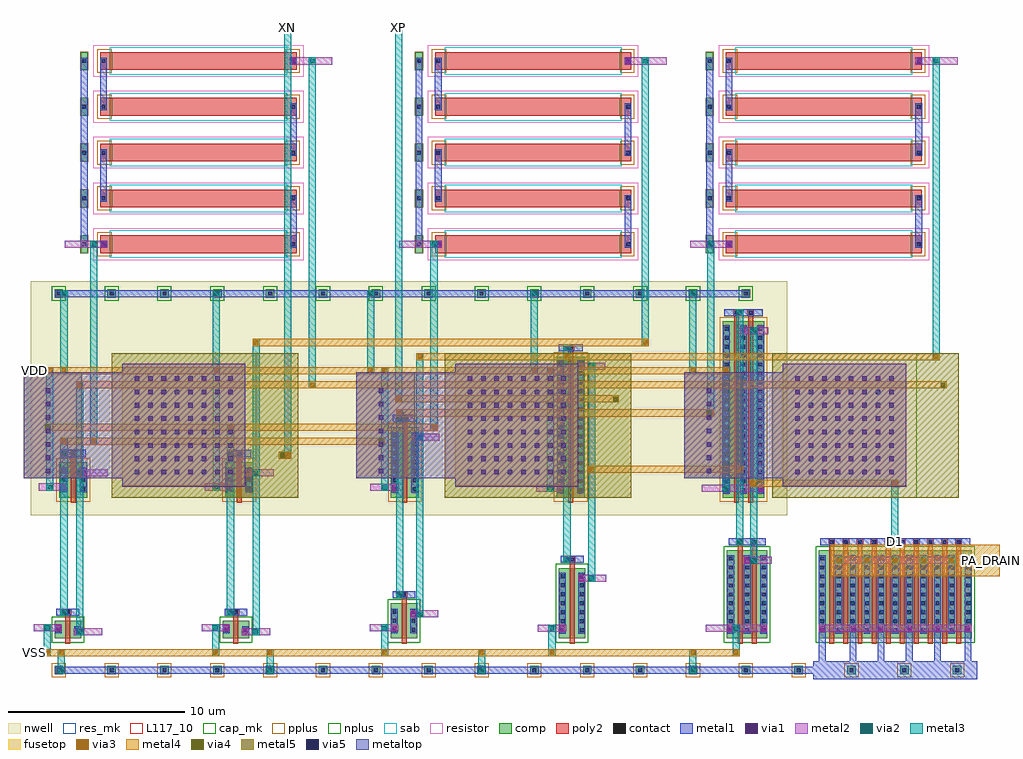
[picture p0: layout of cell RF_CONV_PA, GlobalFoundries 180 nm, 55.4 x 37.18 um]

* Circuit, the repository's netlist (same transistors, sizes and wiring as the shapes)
.subckt RF_CONV_PA XP XN VDD VSS PA_DRAIN D1
XXI0N_0 N0 G0 VSS VSS nfet_03v3 w=1u l=0.28u
XXIDN_0 ND GD VSS VSS nfet_03v3 w=1u l=0.28u
XXI1N_0 N1 G1 VSS VSS nfet_03v3 w=2u l=0.28u
XXID0N_0 D0 N1 VSS VSS nfet_03v3 w=4u l=0.28u
XXID1N_0 D1 D0 VSS VSS nfet_03v3 w=5u l=0.28u
XXID1N_1 D1 D0 VSS VSS nfet_03v3 w=5u l=0.28u
XXI0P_0 N0 G0 VDD VDD pfet_03v3 w=2u l=0.28u
XXIDP_0 ND GD VDD VDD pfet_03v3 w=2u l=0.28u
XXI1P_0 N1 G1 VDD VDD pfet_03v3 w=4u l=0.28u
XXID0P_0 D0 N1 VDD VDD pfet_03v3 w=8u l=0.28u
XXID1P_0 D1 D0 VDD VDD pfet_03v3 w=10u l=0.28u
XXID1P_1 D1 D0 VDD VDD pfet_03v3 w=10u l=0.28u
XXMPA_0 PA_DRAIN D1 VSS VSS nfet_03v3 w=5u l=0.28u
XXMPA_1 PA_DRAIN D1 VSS VSS nfet_03v3 w=5u l=0.28u
XXMPA_2 PA_DRAIN D1 VSS VSS nfet_03v3 w=5u l=0.28u
XXMPA_3 PA_DRAIN D1 VSS VSS nfet_03v3 w=5u l=0.28u
XXMPA_4 PA_DRAIN D1 VSS VSS nfet_03v3 w=5u l=0.28u
XXMPA_5 PA_DRAIN D1 VSS VSS nfet_03v3 w=5u l=0.28u
XXMPA_6 PA_DRAIN D1 VSS VSS nfet_03v3 w=5u l=0.28u
XXMPA_7 PA_DRAIN D1 VSS VSS nfet_03v3 w=5u l=0.28u
XXMPA_8 PA_DRAIN D1 VSS VSS nfet_03v3 w=5u l=0.28u
XXMPA_9 PA_DRAIN D1 VSS VSS nfet_03v3 w=5u l=0.28u
XXRF0_0 G0 XRF0_n1 VSS ppolyf_u_1k r_width=1u r_length=9.86u
XXRF0_1 XRF0_n1 XRF0_n2 VSS ppolyf_u_1k r_width=1u r_length=9.86u
XXRF0_2 XRF0_n2 XRF0_n3 VSS ppolyf_u_1k r_width=1u r_length=9.86u
XXRF0_3 XRF0_n3 XRF0_n4 VSS ppolyf_u_1k r_width=1u r_length=9.86u
XXRF0_4 XRF0_n4 N0 VSS ppolyf_u_1k r_width=1u r_length=9.86u
XXRFD_0 GD XRFD_n1 VSS ppolyf_u_1k r_width=1u r_length=9.86u
XXRFD_1 XRFD_n1 XRFD_n2 VSS ppolyf_u_1k r_width=1u r_length=9.86u
XXRFD_2 XRFD_n2 XRFD_n3 VSS ppolyf_u_1k r_width=1u r_length=9.86u
XXRFD_3 XRFD_n3 XRFD_n4 VSS ppolyf_u_1k r_width=1u r_length=9.86u
XXRFD_4 XRFD_n4 ND VSS ppolyf_u_1k r_width=1u r_length=9.86u
XXRF1_0 G1 XRF1_n1 VSS ppolyf_u_1k r_width=1u r_length=9.86u
XXRF1_1 XRF1_n1 XRF1_n2 VSS ppolyf_u_1k r_width=1u r_length=9.86u
XXRF1_2 XRF1_n2 XRF1_n3 VSS ppolyf_u_1k r_width=1u r_length=9.86u
XXRF1_3 XRF1_n3 XRF1_n4 VSS ppolyf_u_1k r_width=1u r_length=9.86u
XXRF1_4 XRF1_n4 N1 VSS ppolyf_u_1k r_width=1u r_length=9.86u
XCCX G0 XP cap_mim_2f0_m5m6_noshield c_width=7u c_length=7u
XCCD GD XN cap_mim_2f0_m5m6_noshield c_width=7u c_length=7u
XCC1 G1 N0 cap_mim_2f0_m5m6_noshield c_width=7u c_length=7u
.ends RF_CONV_PA

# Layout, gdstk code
import gdstk
lib = gdstk.Library(unit=1e-6, precision=1e-09)
def R(c, l, rs):  # rectangles x0, y0, x1, y1
    for r in rs: c.add(gdstk.rectangle(r[:2], r[2:], *l))
def A(c, l, x, y, w, h, nx, ny, dx, dy):  # array of equal rectangles
    R(c, l, [(x+i*dx, y+j*dy, x+i*dx+w, y+j*dy+h) for i in range(nx) for j in range(ny)])
def P(c, l, *ps):  # polygons
    for p in ps: c.add(gdstk.Polygon(p, *l))
nwell = (21, 0)
comp = (22, 0)
poly2 = (30, 0)
pplus = (31, 0)
nplus = (32, 0)
contact = (33, 0)
metal1 = (34, 0)
via1 = (35, 0)
metal2 = (36, 0)
via2 = (38, 0)
via3 = (40, 0)
via4 = (41, 0)
metal3 = (42, 0)
metal4 = (46, 0)
sab = (49, 0)
metaltop = (53, 0)
resistor = (62, 0)
fusetop = (75, 0)
metal5 = (81, 0)
via5 = (82, 0)
res_mk = (110, 5)
cap_mk = (117, 5)
L117_10 = (117, 10)

nfet_w5_l0p28_nf10_top = lib.new_cell('NFET_W5_L0p28_NF10_top')
R(nfet_w5_l0p28_nf10_top, comp, [(-0.42,0,8.28,5)])
P(nfet_w5_l0p28_nf10_top, poly2, [(0.19,-0.3),(0.19,5.3),(0.15,5.3),(0.15,5.66),(0.51,5.66),(0.51,5.3),(0.47,5.3),(0.47,-0.3)],
  [(0.99,-0.3),(0.99,5.3),(0.95,5.3),(0.95,5.66),(1.31,5.66),(1.31,5.3),(1.27,5.3),(1.27,-0.3)],
  [(1.79,-0.3),(1.79,5.3),(1.75,5.3),(1.75,5.66),(2.11,5.66),(2.11,5.3),(2.07,5.3),(2.07,-0.3)],
  [(2.59,-0.3),(2.59,5.3),(2.55,5.3),(2.55,5.66),(2.91,5.66),(2.91,5.3),(2.87,5.3),(2.87,-0.3)],
  [(3.39,-0.3),(3.39,5.3),(3.35,5.3),(3.35,5.66),(3.71,5.66),(3.71,5.3),(3.67,5.3),(3.67,-0.3)],
  [(4.19,-0.3),(4.19,5.3),(4.15,5.3),(4.15,5.66),(4.51,5.66),(4.51,5.3),(4.47,5.3),(4.47,-0.3)],
  [(4.99,-0.3),(4.99,5.3),(4.95,5.3),(4.95,5.66),(5.31,5.66),(5.31,5.3),(5.27,5.3),(5.27,-0.3)],
  [(5.79,-0.3),(5.79,5.3),(5.75,5.3),(5.75,5.66),(6.11,5.66),(6.11,5.3),(6.07,5.3),(6.07,-0.3)],
  [(6.59,-0.3),(6.59,5.3),(6.55,5.3),(6.55,5.66),(6.91,5.66),(6.91,5.3),(6.87,5.3),(6.87,-0.3)],
  [(7.39,-0.3),(7.39,5.3),(7.35,5.3),(7.35,5.66),(7.71,5.66),(7.71,5.3),(7.67,5.3),(7.67,-0.3)])
R(nfet_w5_l0p28_nf10_top, nplus, [(-0.59,-0.24,8.45,5.24)])
A(nfet_w5_l0p28_nf10_top, contact, -0.32, 0.35, 0.22, 0.22, 1, 9, 0, 0.51)
A(nfet_w5_l0p28_nf10_top, contact, 0.62, 0.35, 0.22, 0.22, 9, 9, 0.8, 0.51)
A(nfet_w5_l0p28_nf10_top, contact, 7.96, 0.35, 0.22, 0.22, 1, 9, 0, 0.51)
A(nfet_w5_l0p28_nf10_top, contact, 0.22, 5.37, 0.22, 0.22, 10, 1, 0.8, 0)
A(nfet_w5_l0p28_nf10_top, metal1, 0.54, 0.27, 0.38, 4.46, 9, 1, 0.8, 0)
A(nfet_w5_l0p28_nf10_top, metal1, 0.14, 5.29, 0.38, 0.38, 10, 1, 0.8, 0)
R(nfet_w5_l0p28_nf10_top, metal1, [(-0.4,0.27,-0.02,4.73), (7.88,0.27,8.26,4.73)])

nfet_w1_l0p28_nf1_top = lib.new_cell('NFET_W1_L0p28_NF1_top')
R(nfet_w1_l0p28_nf1_top, comp, [(-0.42,0,1.08,1)])
P(nfet_w1_l0p28_nf1_top, poly2, [(0.19,-0.3),(0.19,1.3),(0.15,1.3),(0.15,1.66),(0.51,1.66),(0.51,1.3),(0.47,1.3),(0.47,-0.3)])
R(nfet_w1_l0p28_nf1_top, nplus, [(-0.59,-0.24,1.25,1.24)])
R(nfet_w1_l0p28_nf1_top, contact, [(-0.32,0.39,-0.1,0.61), (0.76,0.39,0.98,0.61), (0.22,1.37,0.44,1.59)])
R(nfet_w1_l0p28_nf1_top, metal1, [(-0.4,0.31,-0.02,0.69), (0.68,0.31,1.06,0.69), (0.14,1.29,0.52,1.67)])

nfet_w2_l0p28_nf1_top = lib.new_cell('NFET_W2_L0p28_NF1_top')
R(nfet_w2_l0p28_nf1_top, comp, [(-0.42,0,1.08,2)])
P(nfet_w2_l0p28_nf1_top, poly2, [(0.19,-0.3),(0.19,2.3),(0.15,2.3),(0.15,2.66),(0.51,2.66),(0.51,2.3),(0.47,2.3),(0.47,-0.3)])
R(nfet_w2_l0p28_nf1_top, nplus, [(-0.59,-0.24,1.25,2.24)])
A(nfet_w2_l0p28_nf1_top, contact, -0.32, 0.38, 0.22, 0.22, 1, 3, 0, 0.51)
A(nfet_w2_l0p28_nf1_top, contact, 0.76, 0.38, 0.22, 0.22, 1, 3, 0, 0.51)
R(nfet_w2_l0p28_nf1_top, contact, [(0.22,2.37,0.44,2.59)])
R(nfet_w2_l0p28_nf1_top, metal1, [(-0.4,0.3,-0.02,1.7), (0.68,0.3,1.06,1.7), (0.14,2.29,0.52,2.67)])

nfet_w4_l0p28_nf1_top = lib.new_cell('NFET_W4_L0p28_NF1_top')
R(nfet_w4_l0p28_nf1_top, comp, [(-0.42,0,1.08,4)])
P(nfet_w4_l0p28_nf1_top, poly2, [(0.19,-0.3),(0.19,4.3),(0.15,4.3),(0.15,4.66),(0.51,4.66),(0.51,4.3),(0.47,4.3),(0.47,-0.3)])
R(nfet_w4_l0p28_nf1_top, nplus, [(-0.59,-0.24,1.25,4.24)])
A(nfet_w4_l0p28_nf1_top, contact, -0.32, 0.36, 0.22, 0.22, 1, 7, 0, 0.51)
A(nfet_w4_l0p28_nf1_top, contact, 0.76, 0.36, 0.22, 0.22, 1, 7, 0, 0.51)
R(nfet_w4_l0p28_nf1_top, contact, [(0.22,4.37,0.44,4.59)])
R(nfet_w4_l0p28_nf1_top, metal1, [(-0.4,0.28,-0.02,3.72), (0.68,0.28,1.06,3.72), (0.14,4.29,0.52,4.67)])

nfet_w5_l0p28_nf2_top = lib.new_cell('NFET_W5_L0p28_NF2_top')
R(nfet_w5_l0p28_nf2_top, comp, [(-0.42,0,1.88,5)])
P(nfet_w5_l0p28_nf2_top, poly2, [(0.19,-0.3),(0.19,5.3),(0.15,5.3),(0.15,5.66),(0.51,5.66),(0.51,5.3),(0.47,5.3),(0.47,-0.3)],
  [(0.99,-0.3),(0.99,5.3),(0.95,5.3),(0.95,5.66),(1.31,5.66),(1.31,5.3),(1.27,5.3),(1.27,-0.3)])
R(nfet_w5_l0p28_nf2_top, nplus, [(-0.59,-0.24,2.05,5.24)])
A(nfet_w5_l0p28_nf2_top, contact, -0.32, 0.35, 0.22, 0.22, 3, 9, 0.94, 0.51)
R(nfet_w5_l0p28_nf2_top, contact, [(0.22,5.37,0.44,5.59), (1.02,5.37,1.24,5.59)])
A(nfet_w5_l0p28_nf2_top, metal1, -0.4, 0.27, 0.38, 4.46, 3, 1, 0.94, 0)
R(nfet_w5_l0p28_nf2_top, metal1, [(0.14,5.29,0.52,5.67), (0.94,5.29,1.32,5.67)])

pfet_w2_l0p28_nf1_top = lib.new_cell('PFET_W2_L0p28_NF1_top')
R(pfet_w2_l0p28_nf1_top, nwell, [(-0.9,-0.44,1.56,2.44)])
R(pfet_w2_l0p28_nf1_top, comp, [(-0.46,0,1.12,2)])
P(pfet_w2_l0p28_nf1_top, poly2, [(0.19,-0.3),(0.19,2.3),(0.14,2.3),(0.14,2.68),(0.52,2.68),(0.52,2.3),(0.47,2.3),(0.47,-0.3)])
R(pfet_w2_l0p28_nf1_top, pplus, [(-0.63,-0.24,1.29,2.24)])
A(pfet_w2_l0p28_nf1_top, contact, -0.34, 0.38, 0.22, 0.22, 1, 3, 0, 0.51)
A(pfet_w2_l0p28_nf1_top, contact, 0.78, 0.38, 0.22, 0.22, 1, 3, 0, 0.51)
R(pfet_w2_l0p28_nf1_top, contact, [(0.22,2.38,0.44,2.6)])
R(pfet_w2_l0p28_nf1_top, metal1, [(-0.42,0.3,-0.04,1.7), (0.7,0.3,1.08,1.7), (0.14,2.3,0.52,2.68)])

pfet_w4_l0p28_nf1_top = lib.new_cell('PFET_W4_L0p28_NF1_top')
R(pfet_w4_l0p28_nf1_top, nwell, [(-0.9,-0.44,1.56,4.44)])
R(pfet_w4_l0p28_nf1_top, comp, [(-0.46,0,1.12,4)])
P(pfet_w4_l0p28_nf1_top, poly2, [(0.19,-0.3),(0.19,4.3),(0.14,4.3),(0.14,4.68),(0.52,4.68),(0.52,4.3),(0.47,4.3),(0.47,-0.3)])
R(pfet_w4_l0p28_nf1_top, pplus, [(-0.63,-0.24,1.29,4.24)])
A(pfet_w4_l0p28_nf1_top, contact, -0.34, 0.36, 0.22, 0.22, 1, 7, 0, 0.51)
A(pfet_w4_l0p28_nf1_top, contact, 0.78, 0.36, 0.22, 0.22, 1, 7, 0, 0.51)
R(pfet_w4_l0p28_nf1_top, contact, [(0.22,4.38,0.44,4.6)])
R(pfet_w4_l0p28_nf1_top, metal1, [(-0.42,0.28,-0.04,3.72), (0.7,0.28,1.08,3.72), (0.14,4.3,0.52,4.68)])

pfet_w8_l0p28_nf1_top = lib.new_cell('PFET_W8_L0p28_NF1_top')
R(pfet_w8_l0p28_nf1_top, nwell, [(-0.9,-0.44,1.56,8.44)])
R(pfet_w8_l0p28_nf1_top, comp, [(-0.46,0,1.12,8)])
P(pfet_w8_l0p28_nf1_top, poly2, [(0.19,-0.3),(0.19,8.3),(0.14,8.3),(0.14,8.68),(0.52,8.68),(0.52,8.3),(0.47,8.3),(0.47,-0.3)])
R(pfet_w8_l0p28_nf1_top, pplus, [(-0.63,-0.24,1.29,8.24)])
A(pfet_w8_l0p28_nf1_top, contact, -0.34, 0.32, 0.22, 0.22, 1, 15, 0, 0.51)
A(pfet_w8_l0p28_nf1_top, contact, 0.78, 0.32, 0.22, 0.22, 1, 15, 0, 0.51)
R(pfet_w8_l0p28_nf1_top, contact, [(0.22,8.38,0.44,8.6)])
R(pfet_w8_l0p28_nf1_top, metal1, [(-0.42,0.24,-0.04,7.76), (0.7,0.24,1.08,7.76), (0.14,8.3,0.52,8.68)])

pfet_w10_l0p28_nf2_top = lib.new_cell('PFET_W10_L0p28_NF2_top')
R(pfet_w10_l0p28_nf2_top, nwell, [(-0.9,-0.44,2.36,10.44)])
R(pfet_w10_l0p28_nf2_top, comp, [(-0.46,0,1.92,10)])
P(pfet_w10_l0p28_nf2_top, poly2, [(0.19,-0.3),(0.19,10.3),(0.14,10.3),(0.14,10.68),(0.52,10.68),(0.52,10.3),(0.47,10.3),(0.47,-0.3)],
  [(0.99,-0.3),(0.99,10.3),(0.94,10.3),(0.94,10.68),(1.32,10.68),(1.32,10.3),(1.27,10.3),(1.27,-0.3)])
R(pfet_w10_l0p28_nf2_top, pplus, [(-0.63,-0.24,2.09,10.24)])
A(pfet_w10_l0p28_nf2_top, contact, -0.34, 0.3, 0.22, 0.22, 3, 19, 0.96, 0.51)
R(pfet_w10_l0p28_nf2_top, contact, [(0.22,10.38,0.44,10.6), (1.02,10.38,1.24,10.6)])
A(pfet_w10_l0p28_nf2_top, metal1, -0.42, 0.22, 0.38, 9.56, 3, 1, 0.96, 0)
R(pfet_w10_l0p28_nf2_top, metal1, [(0.14,10.3,0.52,10.68), (0.94,10.3,1.32,10.68)])

tap_nw = lib.new_cell('TAP_NW')
R(tap_nw, nwell, [(-0.5,-0.5,0.5,0.5)])
R(tap_nw, comp, [(-0.24,-0.24,0.24,0.24)])
R(tap_nw, nplus, [(-0.4,-0.4,0.4,0.4)])
R(tap_nw, contact, [(-0.11,-0.11,0.11,0.11)])
R(tap_nw, metal1, [(-0.2,-0.2,0.2,0.2)])

tap_sub = lib.new_cell('TAP_SUB')
R(tap_sub, comp, [(-0.24,-0.24,0.24,0.24)])
R(tap_sub, pplus, [(-0.4,-0.4,0.4,0.4)])
R(tap_sub, contact, [(-0.11,-0.11,0.11,0.11)])
R(tap_sub, metal1, [(-0.2,-0.2,0.2,0.2)])

rhr_w1_l9p86 = lib.new_cell('RHR_W1_L9p86')
R(rhr_w1_l9p86, comp, [(-1.76,0,-1.34,1)])
R(rhr_w1_l9p86, poly2, [(-0.64,0,10.5,1)])
R(rhr_w1_l9p86, pplus, [(-0.82,-0.18,0,1.18), (9.86,-0.18,10.68,1.18), (-1.78,-0.02,-1.32,1.02)])
R(rhr_w1_l9p86, contact, [(-1.66,0.39,-1.44,0.61), (-0.57,0.39,-0.35,0.61), (10.21,0.39,10.43,0.61)])
R(rhr_w1_l9p86, metal1, [(-1.74,0.31,-1.36,0.69), (-0.65,0.31,-0.27,0.69), (10.13,0.31,10.51,0.69)])
R(rhr_w1_l9p86, sab, [(-0.1,-0.28,9.96,1.28)])
R(rhr_w1_l9p86, resistor, [(-1.04,-0.4,10.9,1.4)])
R(rhr_w1_l9p86, res_mk, [(0,0,9.86,1)])

mim_7x7 = lib.new_cell('MIM_7x7')
R(mim_7x7, metaltop, [(0,0,7,7)])
R(mim_7x7, fusetop, [(0,0,7,7)])
R(mim_7x7, metal5, [(-0.6,-0.6,7.6,7.6)])
A(mim_7x7, via5, 0.71, 0.71, 0.26, 0.26, 8, 8, 0.76, 0.76)
R(mim_7x7, cap_mk, [(-0.6,-0.6,7.6,7.6)])
R(mim_7x7, L117_10, [(0,0,7,0.1)])

rf_conv_pa = lib.new_cell('RF_CONV_PA')
R(rf_conv_pa, nwell, [(-0.6,10,42.36,23.28)])
A(rf_conv_pa, metal1, 12.8, 1, 0.4, 0.4, 3, 1, 12, 0)
A(rf_conv_pa, metal1, 45.89, 1.2, 0.38, 2.17, 4, 1, 1.6, 0)
A(rf_conv_pa, metal1, 45.88, 3.37, 0.4, 0.4, 4, 1, 1.6, 0)
A(rf_conv_pa, metal1, 45.08, 7.23, 0.4, 0.4, 5, 1, 1.6, 0)
R(rf_conv_pa, metal1, [(43.83,0.7,53.13,1.7), (0.8,1,52.2,1.4), (0.95,1,1.35,1.4), (44.15,1.2,44.53,3.37), (52.43,1.2,52.81,3.37), (1.86,3.19,2.26,3.59), (11.4,3.19,11.8,3.59), (38.94,3.37,39.34,3.77), (40.82,3.37,41.22,3.77), (44.14,3.37,44.54,3.77), (52.42,3.37,52.82,3.77), (29.4,3.38,29.8,3.78), (19.86,3.4,20.26,3.8), (0.78,3.41,1.18,3.81), (10.32,3.41,10.72,3.81), (20.94,4.2,21.34,4.6), (0.87,4.29,2.17,4.69), (1.1,4.29,1.5,4.69), (10.41,4.29,11.71,4.69), (10.55,4.29,10.95,4.69), (19.95,5.29,21.25,5.69), (20.15,5.29,20.55,5.69), (30.48,6.22,30.88,6.62), (39.88,7.23,40.28,7.63), (29.49,7.29,30.79,7.69), (29.65,7.29,30.05,7.69), (39.03,8.29,41.13,8.69), (39.45,8.29,39.85,8.69), (44.23,8.29,52.73,8.69), (48.25,8.29,48.65,8.69), (38.71,11.32,39.11,11.72), (40.63,11.32,41.03,11.72), (29.3,11.34,29.7,11.74), (19.89,11.38,20.29,11.78), (1.07,11.4,1.47,11.8), (10.48,11.4,10.88,11.8), (2.19,12.2,2.59,12.6), (11.6,12.2,12,12.6), (1.1,13.3,1.5,13.7), (1.14,13.3,2.52,13.7), (10.55,13.3,10.95,13.7), (10.55,13.3,11.93,13.7), (21.01,14.22,21.41,14.62), (19.96,15.3,21.34,15.7), (20.15,15.3,20.55,15.7), (30.42,18.26,30.82,18.66), (29.37,19.3,30.75,19.7), (29.65,19.3,30.05,19.7), (39.67,20.28,40.07,20.68), (38.78,21.3,40.96,21.7), (39.45,21.3,39.85,21.7), (0.8,22.38,40.2,22.78), (1.1,22.38,1.5,22.78), (9.75,22.38,10.15,22.78), (18.5,22.38,18.9,22.78), (27.8,22.38,28.2,22.78), (36.8,22.38,37.2,22.78), (2.26,25.19,2.64,35.97), (2.26,25.19,2.64,25.57), (14.13,25.19,14.51,28.17), (21.26,25.19,21.64,35.97), (21.26,25.19,21.64,25.57), (33.13,25.19,33.51,28.17), (37.76,25.19,38.14,35.97), (37.76,25.19,38.14,25.57), (49.63,25.19,50.01,28.17), (3.35,27.79,3.73,30.77), (22.35,27.79,22.73,30.77), (38.85,27.79,39.23,30.77), (14.13,30.39,14.51,33.37), (33.13,30.39,33.51,33.37), (49.63,30.39,50.01,33.37), (3.35,32.99,3.73,35.97), (22.35,32.99,22.73,35.97), (38.85,32.99,39.23,35.97)])
A(rf_conv_pa, via1, 12.87, 1.07, 0.26, 0.26, 3, 1, 12, 0)
A(rf_conv_pa, via1, 45.95, 3.44, 0.26, 0.26, 4, 1, 1.6, 0)
A(rf_conv_pa, via1, 45.15, 7.3, 0.26, 0.26, 5, 1, 1.6, 0)
R(rf_conv_pa, via1, [(1.02,1.07,1.28,1.33), (1.93,3.26,2.19,3.52), (11.47,3.26,11.73,3.52), (39.01,3.44,39.27,3.7), (40.89,3.44,41.15,3.7), (44.21,3.44,44.47,3.7), (52.49,3.44,52.75,3.7), (29.47,3.45,29.73,3.71), (19.93,3.47,20.19,3.73), (0.85,3.48,1.11,3.74), (10.39,3.48,10.65,3.74), (21.01,4.27,21.27,4.53), (1.17,4.36,1.43,4.62), (10.62,4.36,10.88,4.62), (20.22,5.36,20.48,5.62), (30.55,6.29,30.81,6.55), (39.95,7.3,40.21,7.56), (29.72,7.36,29.98,7.62), (39.52,8.36,39.78,8.62), (48.32,8.36,48.58,8.62), (38.78,11.39,39.04,11.65), (40.7,11.39,40.96,11.65), (29.37,11.41,29.63,11.67), (19.96,11.45,20.22,11.71), (1.14,11.47,1.4,11.73), (10.55,11.47,10.81,11.73), (2.26,12.27,2.52,12.53), (11.67,12.27,11.93,12.53), (1.17,13.37,1.43,13.63), (10.62,13.37,10.88,13.63), (21.08,14.29,21.34,14.55), (20.22,15.37,20.48,15.63), (30.49,18.33,30.75,18.59), (29.72,19.37,29.98,19.63), (39.74,20.35,40,20.61), (39.52,21.37,39.78,21.63), (1.17,22.45,1.43,22.71), (9.82,22.45,10.08,22.71), (18.57,22.45,18.83,22.71), (27.87,22.45,28.13,22.71), (36.87,22.45,37.13,22.71), (3.41,25.25,3.67,25.51), (22.41,25.25,22.67,25.51), (38.91,25.25,39.17,25.51), (14.19,35.65,14.45,35.91), (33.19,35.65,33.45,35.91), (49.69,35.65,49.95,35.91)])
A(rf_conv_pa, metal2, 12.8, 1, 0.4, 0.4, 3, 1, 12, 0)
A(rf_conv_pa, metal2, 45.08, 7.23, 0.4, 0.4, 5, 1, 1.6, 0)
R(rf_conv_pa, metal2, [(0.95,1,1.35,1.4), (1.86,3.19,3.46,3.59), (2,3.19,2.4,3.59), (11.4,3.19,13,3.59), (12,3.19,12.4,3.59), (37.74,3.37,41.22,3.77), (39.25,3.37,39.65,3.77), (44.14,3.37,52.82,3.77), (28.2,3.38,29.8,3.78), (28.8,3.38,29.2,3.78), (18.66,3.4,20.26,3.8), (19.3,3.4,19.7,3.8), (-0.42,3.41,1.18,3.81), (0.15,3.41,0.55,3.81), (9.12,3.41,10.72,3.81), (9.7,3.41,10.1,3.81), (20.94,4.2,22.54,4.6), (21.3,4.2,21.7,4.6), (1.1,4.29,1.5,4.69), (10.55,4.29,10.95,4.69), (20.15,5.29,20.55,5.69), (30.48,6.22,32.08,6.62), (31.05,6.22,31.45,6.62), (39.88,7.23,41.48,7.63), (40.25,7.23,40.65,7.63), (45.08,7.23,51.88,7.63), (29.65,7.29,30.05,7.69), (39.45,8.29,39.85,8.69), (48.25,8.29,48.65,8.69), (37.51,11.32,41.03,11.72), (38.65,11.32,39.05,11.72), (28.1,11.34,29.7,11.74), (28.7,11.34,29.1,11.74), (18.69,11.38,20.29,11.78), (19.3,11.38,19.7,11.78), (-0.13,11.4,1.47,11.8), (0.3,11.4,0.7,11.8), (9.28,11.4,10.88,11.8), (9.75,11.4,10.15,11.8), (2,12.2,2.4,12.6), (2.19,12.2,3.79,12.6), (11.6,12.2,13.2,12.6), (12,12.2,12.4,12.6), (1.1,13.3,1.5,13.7), (10.55,13.3,10.95,13.7), (21.01,14.22,22.61,14.62), (21.3,14.22,21.7,14.62), (20.15,15.3,20.55,15.7), (30.42,18.26,32.02,18.66), (31.05,18.26,31.45,18.66), (29.65,19.3,30.05,19.7), (39.67,20.28,41.27,20.68), (40.25,20.28,40.65,20.68), (39.45,21.3,39.85,21.7), (1.1,22.38,1.5,22.78), (9.75,22.38,10.15,22.78), (18.5,22.38,18.9,22.78), (27.8,22.38,28.2,22.78), (36.8,22.38,37.2,22.78), (1.34,25.18,3.74,25.58), (2.8,25.18,3.2,25.58), (20.34,25.18,22.74,25.58), (22.1,25.18,22.5,25.58), (36.84,25.18,39.24,25.58), (37.8,25.18,38.2,25.58), (14.12,35.58,16.52,35.98), (15.2,35.58,15.6,35.98), (33.12,35.58,35.52,35.98), (34.1,35.58,34.5,35.98), (49.62,35.58,52.02,35.98), (50.6,35.58,51,35.98)])
A(rf_conv_pa, via2, 12.87, 1.07, 0.26, 0.26, 3, 1, 12, 0)
A(rf_conv_pa, via2, 45.15, 7.3, 0.26, 0.26, 5, 1, 1.6, 0)
R(rf_conv_pa, via2, [(1.02,1.07,1.28,1.33), (2.07,3.26,2.33,3.52), (12.07,3.26,12.33,3.52), (39.32,3.44,39.58,3.7), (28.87,3.45,29.13,3.71), (19.37,3.47,19.63,3.73), (0.22,3.48,0.48,3.74), (9.77,3.48,10.03,3.74), (21.37,4.27,21.63,4.53), (1.17,4.36,1.43,4.62), (10.62,4.36,10.88,4.62), (20.22,5.36,20.48,5.62), (31.12,6.29,31.38,6.55), (40.32,7.3,40.58,7.56), (29.72,7.36,29.98,7.62), (39.52,8.36,39.78,8.62), (48.32,8.36,48.58,8.62), (38.72,11.39,38.98,11.65), (28.77,11.41,29.03,11.67), (19.37,11.45,19.63,11.71), (0.37,11.47,0.63,11.73), (9.82,11.47,10.08,11.73), (2.07,12.27,2.33,12.53), (12.07,12.27,12.33,12.53), (1.17,13.37,1.43,13.63), (10.62,13.37,10.88,13.63), (21.37,14.29,21.63,14.55), (20.22,15.37,20.48,15.63), (31.12,18.33,31.38,18.59), (29.72,19.37,29.98,19.63), (40.32,20.35,40.58,20.61), (39.52,21.37,39.78,21.63), (1.17,22.45,1.43,22.71), (9.82,22.45,10.08,22.71), (18.57,22.45,18.83,22.71), (27.87,22.45,28.13,22.71), (36.87,22.45,37.13,22.71), (2.87,25.25,3.13,25.51), (22.17,25.25,22.43,25.51), (37.87,25.25,38.13,25.51), (15.27,35.65,15.53,35.91), (34.17,35.65,34.43,35.91), (50.67,35.65,50.93,35.91)])
A(rf_conv_pa, via3, 45.15, 7.3, 0.26, 0.26, 5, 1, 1.6, 0)
R(rf_conv_pa, via3, [(0.22,2.07,0.48,2.33), (1.02,2.07,1.28,2.33), (9.77,2.07,10.03,2.33), (12.87,2.07,13.13,2.33), (19.37,2.07,19.63,2.33), (24.87,2.07,25.13,2.33), (28.87,2.07,29.13,2.33), (36.87,2.07,37.13,2.33), (39.32,2.07,39.58,2.33), (40.32,11.67,40.58,11.93), (40.32,11.67,40.58,11.93), (48.32,11.67,48.58,11.93), (31.12,12.47,31.38,12.73), (31.12,12.47,31.38,12.73), (39.52,12.47,39.78,12.73), (39.52,12.47,39.78,12.73), (13.87,13.27,14.13,13.53), (1.17,14.07,1.43,14.33), (1.17,14.07,1.43,14.33), (2.87,14.07,3.13,14.33), (10.62,14.87,10.88,15.13), (10.62,14.87,10.88,15.13), (22.17,14.87,22.43,15.13), (20.22,15.67,20.48,15.93), (20.22,15.67,20.48,15.93), (37.87,15.67,38.13,15.93), (20.17,16.47,20.43,16.73), (2.07,17.27,2.33,17.53), (2.07,17.27,2.33,17.53), (15.27,17.27,15.53,17.53), (0.37,18.07,0.63,18.33), (1.17,18.07,1.43,18.33), (9.82,18.07,10.08,18.33), (9.82,18.07,10.08,18.33), (18.57,18.07,18.83,18.33), (19.37,18.07,19.63,18.33), (27.87,18.07,28.13,18.33), (28.77,18.07,29.03,18.33), (36.87,18.07,37.13,18.33), (38.72,18.07,38.98,18.33), (21.37,18.87,21.63,19.13), (21.37,18.87,21.63,19.13), (29.72,18.87,29.98,19.13), (29.72,18.87,29.98,19.13), (50.67,18.87,50.93,19.13), (12.07,19.67,12.33,19.93), (12.07,19.67,12.33,19.93), (34.17,19.67,34.43,19.93)])
R(rf_conv_pa, via4, [(13.57,13.27,13.83,13.53), (19.17,14.07,19.43,14.33), (0.27,14.87,0.53,15.13), (37.77,15.67,38.03,15.93), (32.47,16.47,32.73,16.73), (51.07,17.27,51.33,17.53)])
A(rf_conv_pa, metal3, 12.8, 1, 0.4, 0.4, 3, 1, 12, 0)
A(rf_conv_pa, metal3, 12.8, 1, 0.4, 1.4, 3, 1, 12, 0)
A(rf_conv_pa, metal3, 45.08, 7.23, 0.4, 0.4, 5, 1, 1.6, 0)
R(rf_conv_pa, metal3, [(0.95,1,1.35,1.4), (0.95,1,1.35,2.4), (0.15,2,0.55,2.4), (0.15,2,0.55,3.81), (0.95,2,1.35,2.4), (9.7,2,10.1,2.4), (9.7,2,10.1,3.81), (12.8,2,13.2,2.4), (19.3,2,19.7,2.4), (19.3,2,19.7,3.8), (24.8,2,25.2,2.4), (28.8,2,29.2,2.4), (28.8,2,29.2,3.78), (36.8,2,37.2,2.4), (39.25,2,39.65,2.4), (39.25,2,39.65,3.77), (2,3.19,2.4,3.59), (2,3.19,2.4,17.6), (12,3.19,12.4,20), (12,3.19,12.4,3.59), (39.25,3.37,39.65,3.77), (28.8,3.38,29.2,3.78), (19.3,3.4,19.7,3.8), (0.15,3.41,0.55,3.81), (9.7,3.41,10.1,3.81), (21.3,4.2,21.7,4.6), (21.3,4.2,21.7,19.2), (1.1,4.29,1.5,4.69), (1.1,4.29,1.5,14.4), (10.55,4.29,10.95,4.69), (10.55,4.29,10.95,15.2), (20.15,5.29,20.55,5.69), (20.15,5.29,20.55,16), (31.05,6.22,31.45,6.62), (31.05,6.22,31.45,12.8), (40.25,7.23,40.65,7.63), (40.25,7.23,40.65,12), (29.65,7.29,30.05,7.69), (29.65,7.29,30.05,19.2), (39.45,8.29,39.85,8.69), (39.45,8.29,39.85,12.8), (48.25,8.29,48.65,8.69), (48.25,8.29,48.65,12), (38.65,11.32,39.05,11.72), (38.65,11.32,39.05,18.4), (28.7,11.34,29.1,11.74), (28.7,11.34,29.1,18.4), (19.3,11.38,19.7,11.78), (19.3,11.38,19.7,18.4), (0.3,11.4,0.7,11.8), (0.3,11.4,0.7,18.4), (9.75,11.4,10.15,11.8), (9.75,11.4,10.15,18.4), (40.25,11.6,40.65,12), (40.25,11.6,40.65,12), (40.25,11.6,40.65,20.68), (48.25,11.6,48.65,12), (2,12.2,2.4,12.6), (2,12.2,2.4,17.6), (12,12.2,12.4,20), (12,12.2,12.4,12.6), (31.05,12.4,31.45,12.8), (31.05,12.4,31.45,12.8), (31.05,12.4,31.45,18.66), (39.45,12.4,39.85,12.8), (39.45,12.4,39.85,12.8), (39.45,12.4,39.85,21.7), (13.8,13.2,14.2,13.6), (13.8,13.2,14.2,37.88), (1.1,13.3,1.5,13.7), (1.1,13.3,1.5,14.4), (10.55,13.3,10.95,13.7), (10.55,13.3,10.95,15.2), (1.1,14,1.5,14.4), (1.1,14,1.5,14.4), (2.8,14,3.2,14.4), (2.8,14,3.2,25.58), (21.3,14.22,21.7,14.62), (21.3,14.22,21.7,19.2), (10.55,14.8,10.95,15.2), (10.55,14.8,10.95,15.2), (22.1,14.8,22.5,15.2), (22.1,14.8,22.5,25.58), (20.15,15.3,20.55,15.7), (20.15,15.3,20.55,16), (20.15,15.6,20.55,16), (20.15,15.6,20.55,16), (37.8,15.6,38.2,16), (37.8,15.6,38.2,25.58), (20.1,16.4,20.5,16.8), (20.1,16.4,20.5,37.88), (2,17.2,2.4,17.6), (2,17.2,2.4,17.6), (15.2,17.2,15.6,17.6), (15.2,17.2,15.6,35.98), (0.3,18,0.7,18.4), (1.1,18,1.5,18.4), (1.1,18,1.5,22.78), (9.75,18,10.15,18.4), (9.75,18,10.15,18.4), (9.75,18,10.15,22.78), (18.5,18,18.9,18.4), (18.5,18,18.9,22.78), (19.3,18,19.7,18.4), (27.8,18,28.2,18.4), (27.8,18,28.2,22.78), (28.7,18,29.1,18.4), (36.8,18,37.2,18.4), (36.8,18,37.2,22.78), (38.65,18,39.05,18.4), (31.05,18.26,31.45,18.66), (21.3,18.8,21.7,19.2), (21.3,18.8,21.7,19.2), (29.65,18.8,30.05,19.2), (29.65,18.8,30.05,19.2), (29.65,18.8,30.05,19.7), (50.6,18.8,51,19.2), (50.6,18.8,51,35.98), (29.65,19.3,30.05,19.7), (12,19.6,12.4,20), (12,19.6,12.4,20), (34.1,19.6,34.5,20), (34.1,19.6,34.5,35.98), (40.25,20.28,40.65,20.68), (39.45,21.3,39.85,21.7), (1.1,22.38,1.5,22.78), (9.75,22.38,10.15,22.78), (18.5,22.38,18.9,22.78), (27.8,22.38,28.2,22.78), (36.8,22.38,37.2,22.78), (2.8,25.18,3.2,25.58), (22.1,25.18,22.5,25.58), (37.8,25.18,38.2,25.58), (15.2,35.58,15.6,35.98), (34.1,35.58,34.5,35.98), (50.6,35.58,51,35.98), (13.8,37.48,14.2,37.88), (20.1,37.48,20.5,37.88)])
A(rf_conv_pa, metal4, 45.08, 7.23, 0.4, 0.4, 5, 1, 1.6, 0)
R(rf_conv_pa, metal4, [(-0.8,2,39.65,2.4), (0.15,2,0.55,2.4), (0.95,2,1.35,2.4), (9.7,2,10.1,2.4), (12.8,2,13.2,2.4), (19.3,2,19.7,2.4), (24.8,2,25.2,2.4), (28.8,2,29.2,2.4), (36.8,2,37.2,2.4), (39.25,2,39.65,2.4), (44.79,6.53,54.4,8.33), (40.25,11.6,40.65,12), (40.25,11.6,40.65,12), (40.25,11.6,48.65,12), (48.25,11.6,48.65,12), (31.05,12.4,31.45,12.8), (31.05,12.4,31.45,12.8), (31.05,12.4,39.85,12.8), (39.45,12.4,39.85,12.8), (39.45,12.4,39.85,12.8), (13.5,13.2,13.9,13.6), (13.5,13.2,14.2,13.6), (13.8,13.2,14.2,13.6), (1.1,14,1.5,14.4), (1.1,14,1.5,14.4), (1.1,14,19.5,14.4), (2.8,14,3.2,14.4), (19.1,14,19.5,14.4), (0.2,14.8,0.6,15.2), (0.2,14.8,22.5,15.2), (10.55,14.8,10.95,15.2), (10.55,14.8,10.95,15.2), (22.1,14.8,22.5,15.2), (20.15,15.6,20.55,16), (20.15,15.6,20.55,16), (20.15,15.6,38.2,16), (37.7,15.6,38.1,16), (37.8,15.6,38.2,16), (20.1,16.4,20.5,16.8), (20.1,16.4,32.8,16.8), (32.4,16.4,32.8,16.8), (2,17.2,2.4,17.6), (2,17.2,2.4,17.6), (2,17.2,51.4,17.6), (15.2,17.2,15.6,17.6), (51,17.2,51.4,17.6), (-0.8,18,39.05,18.4), (0.3,18,0.7,18.4), (1.1,18,1.5,18.4), (9.75,18,10.15,18.4), (9.75,18,10.15,18.4), (18.5,18,18.9,18.4), (19.3,18,19.7,18.4), (27.8,18,28.2,18.4), (28.7,18,29.1,18.4), (36.8,18,37.2,18.4), (38.65,18,39.05,18.4), (21.3,18.8,21.7,19.2), (21.3,18.8,21.7,19.2), (21.3,18.8,51,19.2), (29.65,18.8,30.05,19.2), (29.65,18.8,30.05,19.2), (50.6,18.8,51,19.2), (12,19.6,12.4,20), (12,19.6,12.4,20), (12,19.6,34.5,20), (34.1,19.6,34.5,20)])
R(rf_conv_pa, metaltop, [(-1,12.1,5.1,18.1), (17.9,12.1,24,18.1), (36.5,12.1,42.6,18.1)])
R(rf_conv_pa, metal5, [(12.2,11,14.6,19.2), (31.1,11,33.5,19.2), (49.7,11,52.1,19.2), (-1,12.1,2.3,18.1), (17.9,12.1,21.2,18.1), (36.5,12.1,39.8,18.1), (13.5,13.2,13.9,13.6), (32.4,16.4,32.8,16.8), (51,17.2,51.4,17.6)])
A(rf_conv_pa, via5, 0.27, 12.37, 0.26, 0.26, 1, 7, 0, 0.76)
A(rf_conv_pa, via5, 19.17, 12.37, 0.26, 0.26, 1, 7, 0, 0.76)
A(rf_conv_pa, via5, 37.77, 12.37, 0.26, 0.26, 1, 7, 0, 0.76)
rf_conv_pa.add(gdstk.Reference(nfet_w5_l0p28_nf10_top, (44.55,3)))
rf_conv_pa.add(gdstk.Reference(nfet_w1_l0p28_nf1_top, (1.19,3)))
rf_conv_pa.add(gdstk.Reference(nfet_w1_l0p28_nf1_top, (10.73,3)))
rf_conv_pa.add(gdstk.Reference(nfet_w2_l0p28_nf1_top, (20.27,3)))
rf_conv_pa.add(gdstk.Reference(nfet_w4_l0p28_nf1_top, (29.81,3)))
rf_conv_pa.add(gdstk.Reference(nfet_w5_l0p28_nf2_top, (39.35,3)))
rf_conv_pa.add(gdstk.Reference(pfet_w2_l0p28_nf1_top, (1.5,11)))
rf_conv_pa.add(gdstk.Reference(pfet_w2_l0p28_nf1_top, (10.91,11)))
rf_conv_pa.add(gdstk.Reference(pfet_w4_l0p28_nf1_top, (20.32,11)))
rf_conv_pa.add(gdstk.Reference(pfet_w8_l0p28_nf1_top, (29.73,11)))
rf_conv_pa.add(gdstk.Reference(pfet_w10_l0p28_nf2_top, (39.14,11)))
rf_conv_pa.add(gdstk.Reference(tap_nw, (1,22.58)))
rf_conv_pa.add(gdstk.Reference(tap_nw, (4,22.58)))
rf_conv_pa.add(gdstk.Reference(tap_nw, (7,22.58)))
rf_conv_pa.add(gdstk.Reference(tap_nw, (10,22.58)))
rf_conv_pa.add(gdstk.Reference(tap_nw, (13,22.58)))
rf_conv_pa.add(gdstk.Reference(tap_nw, (16,22.58)))
rf_conv_pa.add(gdstk.Reference(tap_nw, (19,22.58)))
rf_conv_pa.add(gdstk.Reference(tap_nw, (22,22.58)))
rf_conv_pa.add(gdstk.Reference(tap_nw, (25,22.58)))
rf_conv_pa.add(gdstk.Reference(tap_nw, (28,22.58)))
rf_conv_pa.add(gdstk.Reference(tap_nw, (31,22.58)))
rf_conv_pa.add(gdstk.Reference(tap_nw, (34,22.58)))
rf_conv_pa.add(gdstk.Reference(tap_nw, (37,22.58)))
rf_conv_pa.add(gdstk.Reference(tap_nw, (40,22.58)))
rf_conv_pa.add(gdstk.Reference(tap_sub, (1,1.2)))
rf_conv_pa.add(gdstk.Reference(tap_sub, (4,1.2)))
rf_conv_pa.add(gdstk.Reference(tap_sub, (7,1.2)))
rf_conv_pa.add(gdstk.Reference(tap_sub, (10,1.2)))
rf_conv_pa.add(gdstk.Reference(tap_sub, (13,1.2)))
rf_conv_pa.add(gdstk.Reference(tap_sub, (16,1.2)))
rf_conv_pa.add(gdstk.Reference(tap_sub, (19,1.2)))
rf_conv_pa.add(gdstk.Reference(tap_sub, (22,1.2)))
rf_conv_pa.add(gdstk.Reference(tap_sub, (25,1.2)))
rf_conv_pa.add(gdstk.Reference(tap_sub, (28,1.2)))
rf_conv_pa.add(gdstk.Reference(tap_sub, (31,1.2)))
rf_conv_pa.add(gdstk.Reference(tap_sub, (34,1.2)))
rf_conv_pa.add(gdstk.Reference(tap_sub, (37,1.2)))
rf_conv_pa.add(gdstk.Reference(tap_sub, (40,1.2)))
rf_conv_pa.add(gdstk.Reference(tap_sub, (43,1.2)))
rf_conv_pa.add(gdstk.Reference(tap_sub, (46,1.2)))
rf_conv_pa.add(gdstk.Reference(tap_sub, (49,1.2)))
rf_conv_pa.add(gdstk.Reference(tap_sub, (52,1.2)))
rf_conv_pa.add(gdstk.Reference(rhr_w1_l9p86, (4,24.88)))
rf_conv_pa.add(gdstk.Reference(rhr_w1_l9p86, (4,27.48)))
rf_conv_pa.add(gdstk.Reference(rhr_w1_l9p86, (4,30.08)))
rf_conv_pa.add(gdstk.Reference(rhr_w1_l9p86, (4,32.68)))
rf_conv_pa.add(gdstk.Reference(rhr_w1_l9p86, (4,35.28)))
rf_conv_pa.add(gdstk.Reference(rhr_w1_l9p86, (23,24.88)))
rf_conv_pa.add(gdstk.Reference(rhr_w1_l9p86, (23,27.48)))
rf_conv_pa.add(gdstk.Reference(rhr_w1_l9p86, (23,30.08)))
rf_conv_pa.add(gdstk.Reference(rhr_w1_l9p86, (23,32.68)))
rf_conv_pa.add(gdstk.Reference(rhr_w1_l9p86, (23,35.28)))
rf_conv_pa.add(gdstk.Reference(rhr_w1_l9p86, (39.5,24.88)))
rf_conv_pa.add(gdstk.Reference(rhr_w1_l9p86, (39.5,27.48)))
rf_conv_pa.add(gdstk.Reference(rhr_w1_l9p86, (39.5,30.08)))
rf_conv_pa.add(gdstk.Reference(rhr_w1_l9p86, (39.5,32.68)))
rf_conv_pa.add(gdstk.Reference(rhr_w1_l9p86, (39.5,35.28)))
rf_conv_pa.add(gdstk.Reference(mim_7x7, (23.5,11.6)))
rf_conv_pa.add(gdstk.Reference(mim_7x7, (4.6,11.6)))
rf_conv_pa.add(gdstk.Reference(mim_7x7, (42.1,11.6)))
rf_conv_pa.add(gdstk.Label('PA_DRAIN', (54,7.43), layer=46, texttype=10))
rf_conv_pa.add(gdstk.Label('VDD', (-0.4,18.2), layer=46, texttype=10))
rf_conv_pa.add(gdstk.Label('VSS', (-0.4,2.2), layer=46, texttype=10))
rf_conv_pa.add(gdstk.Label('XP', (20.3,37.68), layer=42, texttype=10))
rf_conv_pa.add(gdstk.Label('XN', (14,37.68), layer=42, texttype=10))
rf_conv_pa.add(gdstk.Label('D1', (48.48,8.49), layer=34, texttype=10))

lib.write_gds('RF_CONV_PA.gds')
